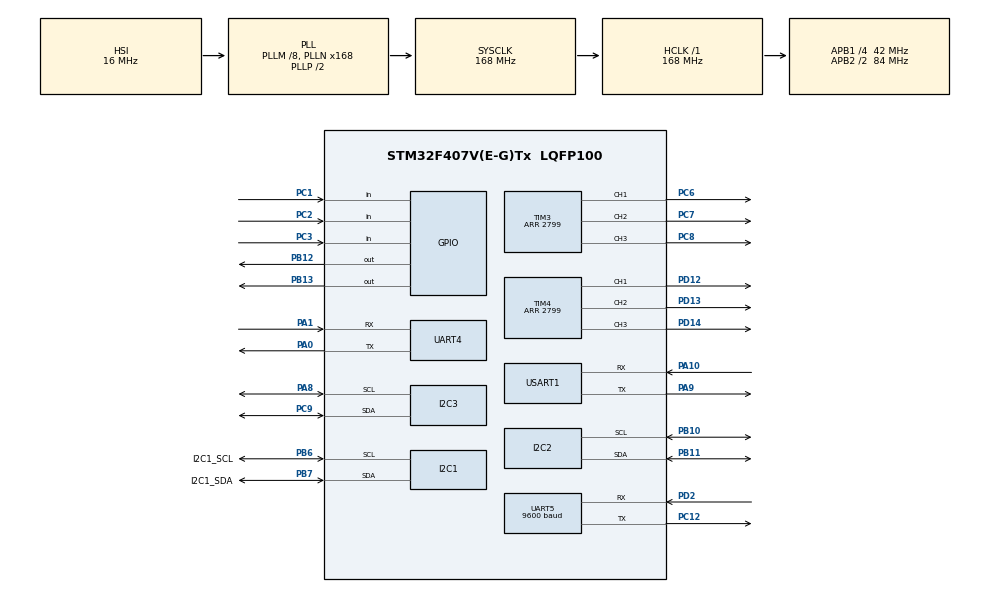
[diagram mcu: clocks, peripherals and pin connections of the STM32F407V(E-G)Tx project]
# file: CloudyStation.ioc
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Dma.Request0=UART5_RX
Dma.Request1=USART1_RX
Dma.UART5_RX.0.Direction=DMA_PERIPH_TO_MEMORY
Dma.UART5_RX.0.FIFOMode=DMA_FIFOMODE_DISABLE
Dma.UART5_RX.0.Instance=DMA1_Stream0
Dma.UART5_RX.0.MemDataAlignment=DMA_MDATAALIGN_BYTE
Dma.UART5_RX.0.MemInc=DMA_MINC_ENABLE
Dma.UART5_RX.0.Mode=DMA_CIRCULAR
Dma.UART5_RX.0.PeriphDataAlignment=DMA_PDATAALIGN_BYTE
Dma.UART5_RX.0.PeriphInc=DMA_PINC_DISABLE
Dma.UART5_RX.0.Priority=DMA_PRIORITY_LOW
Dma.USART1_RX.1.Direction=DMA_PERIPH_TO_MEMORY
Dma.USART1_RX.1.FIFOMode=DMA_FIFOMODE_DISABLE
Dma.USART1_RX.1.Instance=DMA2_Stream2
Dma.USART1_RX.1.MemDataAlignment=DMA_MDATAALIGN_BYTE
Dma.USART1_RX.1.MemInc=DMA_MINC_ENABLE
Dma.USART1_RX.1.Mode=DMA_CIRCULAR
Dma.USART1_RX.1.PeriphDataAlignment=DMA_PDATAALIGN_BYTE
Dma.USART1_RX.1.PeriphInc=DMA_PINC_DISABLE
Dma.USART1_RX.1.Priority=DMA_PRIORITY_LOW
FREERTOS.Tasks01=defaultTask,24,128,StartDefaultTask,Default,NULL,Dynamic,NULL,NULL;mytask1,49,128,InitPrc,Default,NULL,Dynamic,NULL,NULL;myTask02,8,256,MsgPrc,Default,NULL,Dynamic,NULL,NULL;myTask04,41,512,Foc1Prc,Default,NULL,Dynamic,NULL,NULL;myTask05,41,256,Foc2Prc,Default,NULL,Dynamic,NULL,NULL;myTask06,41,128,CtrlPrc,Default,NULL,Dynamic,NULL,NULL
I2C1.I2C_Mode=I2C_Fast
I2C2.I2C_Mode=I2C_Fast
I2C3.I2C_Mode=I2C_Fast
Mcu.Family=STM32F4
Mcu.Name=STM32F407V(E-G)Tx
Mcu.Package=LQFP100
NVIC.DMA1_Stream0_IRQn=true\:5\:0\:false\:false\:true\:true\:false\:true\:true
NVIC.DMA2_Stream2_IRQn=true\:5\:0\:false\:false\:true\:true\:false\:true\:true
NVIC.PriorityGroup=NVIC_PRIORITYGROUP_4
NVIC.TIM8_BRK_TIM12_IRQn=true\:15\:0\:false\:false\:true\:false\:false\:true\:true
NVIC.TimeBase=TIM8_BRK_TIM12_IRQn
NVIC.TimeBaseIP=TIM12
NVIC.UART5_IRQn=true\:5\:0\:false\:false\:true\:true\:true\:true\:true
NVIC.USART1_IRQn=true\:5\:0\:false\:false\:true\:true\:true\:true\:true
PA0-WKUP.Mode=Asynchronous
PA0-WKUP.Signal=UART4_TX
PA1.Mode=Asynchronous
PA1.Signal=UART4_RX
PA10.Mode=Asynchronous
PA10.Signal=USART1_RX
PA13.Mode=Serial_Wire
PA13.Signal=SYS_JTMS-SWDIO
PA14.Mode=Serial_Wire
PA14.Signal=SYS_JTCK-SWCLK
PA8.Mode=I2C
PA8.Signal=I2C3_SCL
PA9.Mode=Asynchronous
PA9.Signal=USART1_TX
PB10.Mode=I2C
PB10.Signal=I2C2_SCL
PB11.Mode=I2C
PB11.Signal=I2C2_SDA
PB12.GPIO_PuPd=GPIO_PULLUP
PB12.PinState=GPIO_PIN_SET
PB12.Signal=GPIO_Output
PB13.GPIO_PuPd=GPIO_PULLUP
PB13.PinState=GPIO_PIN_SET
PB13.Signal=GPIO_Output
PB6.GPIO_Label=I2C1_SCL
PB6.Mode=I2C
PB6.Signal=I2C1_SCL
PB7.GPIO_Label=I2C1_SDA
PB7.Mode=I2C
PB7.Signal=I2C1_SDA
PC1.GPIO_PuPd=GPIO_PULLUP
PC1.Signal=GPIO_Input
PC12.Mode=Asynchronous
PC12.Signal=UART5_TX
PC2.GPIO_PuPd=GPIO_PULLUP
PC2.Signal=GPIO_Input
PC3.GPIO_PuPd=GPIO_PULLUP
PC3.Signal=GPIO_Input
PC6.Signal=S_TIM3_CH1
PC7.Signal=S_TIM3_CH2
PC8.Signal=S_TIM3_CH3
PC9.Mode=I2C
PC9.Signal=I2C3_SDA
PD12.Signal=S_TIM4_CH1
PD13.Signal=S_TIM4_CH2
PD14.Signal=S_TIM4_CH3
PD2.Mode=Asynchronous
PD2.Signal=UART5_RX
PH0-OSC_IN.Mode=HSE-External-Oscillator
PH0-OSC_IN.Signal=RCC_OSC_IN
PH1-OSC_OUT.Mode=HSE-External-Oscillator
PH1-OSC_OUT.Signal=RCC_OSC_OUT
ProjectManager.HeapSize=0x800
ProjectManager.StackSize=0x800
ProjectManager.TargetToolchain=MDK-ARM V5.32
RCC.48MHZClocksFreq_Value=84000000
RCC.AHBFreq_Value=168000000
RCC.APB1CLKDivider=RCC_HCLK_DIV4
RCC.APB1Freq_Value=42000000
RCC.APB1TimFreq_Value=84000000
RCC.APB2CLKDivider=RCC_HCLK_DIV2
RCC.APB2Freq_Value=84000000
RCC.APB2TimFreq_Value=168000000
RCC.CortexFreq_Value=168000000
RCC.HCLKFreq_Value=168000000
RCC.HSE_VALUE=25000000
RCC.HSI_VALUE=16000000
RCC.LSE_VALUE=32768
RCC.PLLM=8
RCC.PLLN=168
RCC.SYSCLKFreq_VALUE=168000000
RCC.SYSCLKSource=RCC_SYSCLKSOURCE_PLLCLK
RCC.VCOOutputFreq_Value=336000000
SH.S_TIM3_CH1.0=TIM3_CH1,PWM Generation1 CH1
SH.S_TIM3_CH2.0=TIM3_CH2,PWM Generation2 CH2
SH.S_TIM3_CH3.0=TIM3_CH3,PWM Generation3 CH3
SH.S_TIM4_CH1.0=TIM4_CH1,PWM Generation1 CH1
SH.S_TIM4_CH2.0=TIM4_CH2,PWM Generation2 CH2
SH.S_TIM4_CH3.0=TIM4_CH3,PWM Generation3 CH3
TIM1.Period=2400-1
TIM3.Channel-PWM\ Generation1\ CH1=TIM_CHANNEL_1
TIM3.Channel-PWM\ Generation2\ CH2=TIM_CHANNEL_2
TIM3.Channel-PWM\ Generation3\ CH3=TIM_CHANNEL_3
TIM3.Period=2799
TIM4.Channel-PWM\ Generation1\ CH1=TIM_CHANNEL_1
TIM4.Channel-PWM\ Generation2\ CH2=TIM_CHANNEL_2
TIM4.Channel-PWM\ Generation3\ CH3=TIM_CHANNEL_3
TIM4.Period=2799
UART4.VirtualMode=Asynchronous
UART5.BaudRate=9600
UART5.VirtualMode=Asynchronous
USART1.VirtualMode=VM_ASYNC
VP_FREERTOS_VS_CMSIS_V2.Mode=CMSIS_V2
VP_SYS_VS_tim12.Mode=TIM12
VP_TIM1_VS_ClockSourceINT.Mode=Internal
VP_TIM3_VS_ClockSourceINT.Mode=Internal
VP_TIM4_VS_ClockSourceINT.Mode=Internal
board=custom

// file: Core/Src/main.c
/* USER CODE BEGIN Header */
/**
  ******************************************************************************
  * @file           : main.c
  * @brief          : Main program body
  ******************************************************************************
  * @attention
  *
  * Copyright (c) 2025 STMicroelectronics.
  * All rights reserved.
  *
  * This software is licensed under terms that can be found in the LICENSE file
  * in the root directory of this software component.
  * If no LICENSE file comes with this software, it is provided AS-IS.
  *
  ******************************************************************************
  */
/* USER CODE END Header */
#include "main.h"
#include "cmsis_os.h"
#include "dma.h"
#include "i2c.h"
#include "tim.h"
#include "usart.h"
#include "gpio.h"

void SystemClock_Config(void);
void MX_FREERTOS_Init(void);

int main(void)
{

  /* MCU Configuration--------------------------------------------------------*/

  /* Reset of all peripherals, Initializes the Flash interface and the Systick. */
  HAL_Init();

  /* Configure the system clock */
  SystemClock_Config();

  /* Initialize all configured peripherals */
  MX_GPIO_Init();
  MX_DMA_Init();
  MX_TIM1_Init();
  MX_I2C1_Init();
  MX_I2C3_Init();
  MX_I2C2_Init();
  MX_TIM3_Init();
  MX_TIM4_Init();
  MX_UART5_Init();
  MX_UART4_Init();
  MX_USART1_UART_Init();

  /* Init scheduler */
  osKernelInitialize();

  /* Call init function for freertos objects (in cmsis_os2.c) */
  MX_FREERTOS_Init();

  /* Start scheduler */
  osKernelStart();

  /* We should never get here as control is now taken by the scheduler */

  /* Infinite loop */
  while (1)
  {

  }
}

void SystemClock_Config(void)
{
  RCC_OscInitTypeDef RCC_OscInitStruct = {0};
  RCC_ClkInitTypeDef RCC_ClkInitStruct = {0};

  /** Configure the main internal regulator output voltage
  */
  __HAL_RCC_PWR_CLK_ENABLE();
  __HAL_PWR_VOLTAGESCALING_CONFIG(PWR_REGULATOR_VOLTAGE_SCALE1);

  /** Initializes the RCC Oscillators according to the specified parameters
  * in the RCC_OscInitTypeDef structure.
  */
  RCC_OscInitStruct.OscillatorType = RCC_OSCILLATORTYPE_HSI;
  RCC_OscInitStruct.HSIState = RCC_HSI_ON;
  RCC_OscInitStruct.HSICalibrationValue = RCC_HSICALIBRATION_DEFAULT;
  RCC_OscInitStruct.PLL.PLLState = RCC_PLL_ON;
  RCC_OscInitStruct.PLL.PLLSource = RCC_PLLSOURCE_HSI;
  RCC_OscInitStruct.PLL.PLLM = 8;
  RCC_OscInitStruct.PLL.PLLN = 168;
  RCC_OscInitStruct.PLL.PLLP = RCC_PLLP_DIV2;
  RCC_OscInitStruct.PLL.PLLQ = 4;
  if (HAL_RCC_OscConfig(&RCC_OscInitStruct) != HAL_OK)
  {
    Error_Handler();
  }

  /** Initializes the CPU, AHB and APB buses clocks
  */
  RCC_ClkInitStruct.ClockType = RCC_CLOCKTYPE_HCLK|RCC_CLOCKTYPE_SYSCLK
                              |RCC_CLOCKTYPE_PCLK1|RCC_CLOCKTYPE_PCLK2;
  RCC_ClkInitStruct.SYSCLKSource = RCC_SYSCLKSOURCE_PLLCLK;
  RCC_ClkInitStruct.AHBCLKDivider = RCC_SYSCLK_DIV1;
  RCC_ClkInitStruct.APB1CLKDivider = RCC_HCLK_DIV4;
  RCC_ClkInitStruct.APB2CLKDivider = RCC_HCLK_DIV2;

  if (HAL_RCC_ClockConfig(&RCC_ClkInitStruct, FLASH_LATENCY_5) != HAL_OK)
  {
    Error_Handler();
  }
}

void HAL_TIM_PeriodElapsedCallback(TIM_HandleTypeDef *htim)
{
  if (htim->Instance == TIM12) {
    HAL_IncTick();
  }
}

void Error_Handler(void)
{
  __disable_irq();
  while (1)
  {
  }
}

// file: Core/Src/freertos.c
/* USER CODE BEGIN Header */
/**
  ******************************************************************************
  * File Name          : freertos.c
  * Description        : Code for freertos applications
  ******************************************************************************
  * @author ?????
  * @date 2025-06-25
  * @attention
  * 2025/6/25 ??????????FOC?????CPU???????1ms??2ms????Msg??????BUG
  *
  *
  *
  *
  *
  *
  ******************************************************************************
  */
/* USER CODE END Header */

#include "FreeRTOS.h"
#include "task.h"
#include "main.h"
#include "cmsis_os.h"

/* USER CODE BEGIN Includes */

#define S1 HAL_GPIO_ReadPin(GPIOC,GPIO_PIN_1)
#define S2 HAL_GPIO_ReadPin(GPIOC,GPIO_PIN_2)
#define S3 HAL_GPIO_ReadPin(GPIOC,GPIO_PIN_3)
/* USER CODE END Includes */

/* USER CODE BEGIN PTD */
typedef struct
{
float angle;
float speed;
float maxangle;
float minangle;
}FocAngle;
FocAngle FOC1,FOC2;
/* USER CODE END PTD */

/* USER CODE BEGIN PD */

extern pid angle1,angle2,speed1;
extern MyUartGroup uartGroup;
extern coordinate aim;
extern cloudpid Cloud1,Cloud2;
extern unsigned int FOCOK;
extern int scan;
extern int target_lost_flag;
/* USER CODE END PD */

/* Definitions for defaultTask */
osThreadId_t defaultTaskHandle;
const osThreadAttr_t defaultTask_attributes = {
  .name = "defaultTask",
  .stack_size = 128 * 4,
  .priority = (osPriority_t) osPriorityNormal,
};
/* Definitions for mytask1 */
osThreadId_t mytask1Handle;
const osThreadAttr_t mytask1_attributes = {
  .name = "mytask1",
  .stack_size = 128 * 4,
  .priority = (osPriority_t) osPriorityRealtime1,
};
/* Definitions for myTask02 */
osThreadId_t myTask02Handle;
const osThreadAttr_t myTask02_attributes = {
  .name = "myTask02",
  .stack_size = 256 * 4,
  .priority = (osPriority_t) osPriorityLow,
};
/* Definitions for myTask04 */
osThreadId_t myTask04Handle;
const osThreadAttr_t myTask04_attributes = {
  .name = "myTask04",
  .stack_size = 512 * 4,
  .priority = (osPriority_t) osPriorityHigh1,
};
/* Definitions for myTask05 */
osThreadId_t myTask05Handle;
const osThreadAttr_t myTask05_attributes = {
  .name = "myTask05",
  .stack_size = 256 * 4,
  .priority = (osPriority_t) osPriorityHigh1,
};
/* Definitions for myTask06 */
osThreadId_t myTask06Handle;
const osThreadAttr_t myTask06_attributes = {
  .name = "myTask06",
  .stack_size = 128 * 4,
  .priority = (osPriority_t) osPriorityHigh1,
};

void StartDefaultTask(void *argument);
void InitPrc(void *argument);
void MsgPrc(void *argument);
void Foc1Prc(void *argument);
void Foc2Prc(void *argument);
void CtrlPrc(void *argument);

void MX_FREERTOS_Init(void); /* (MISRA C 2004 rule 8.1) */

void MX_FREERTOS_Init(void) {

  /* Create the thread(s) */
  /* creation of defaultTask */
  defaultTaskHandle = osThreadNew(StartDefaultTask, NULL, &defaultTask_attributes);

  /* creation of mytask1 */
  mytask1Handle = osThreadNew(InitPrc, NULL, &mytask1_attributes);

  /* creation of myTask02 */
  myTask02Handle = osThreadNew(MsgPrc, NULL, &myTask02_attributes);

  /* creation of myTask04 */
  myTask04Handle = osThreadNew(Foc1Prc, NULL, &myTask04_attributes);

  /* creation of myTask05 */
  myTask05Handle = osThreadNew(Foc2Prc, NULL, &myTask05_attributes);

  /* creation of myTask06 */
  myTask06Handle = osThreadNew(CtrlPrc, NULL, &myTask06_attributes);

}

void StartDefaultTask(void *argument)
{
  for(;;)
  {
    osDelay(1);
  }
}

/* USER CODE BEGIN Header_InitPrc */
/**
* @brief ?????????????
* @param argument: Not used
* @retval None
*/
/* USER CODE END Header_InitPrc */
void InitPrc(void *argument)
{
  /* USER CODE BEGIN InitPrc */
HAL_TIM_Base_Start(&htim3);
HAL_TIM_Base_Start(&htim4);
HAL_TIM_PWM_Start(&htim3,TIM_CHANNEL_1);
HAL_TIM_PWM_Start(&htim3,TIM_CHANNEL_2);
HAL_TIM_PWM_Start(&htim3,TIM_CHANNEL_3);
HAL_TIM_PWM_Start(&htim4,TIM_CHANNEL_1);
HAL_TIM_PWM_Start(&htim4,TIM_CHANNEL_2);
HAL_TIM_PWM_Start(&htim4,TIM_CHANNEL_3);
MyUartGroup_Init(&uartGroup);
HAL_NVIC_EnableIRQ(UART5_IRQn);
// HAL_NVIC_EnableIRQ(USART1_IRQn);
HAL_UART_Receive_DMA(&huart5, uartGroup.camera.Receive_data, uartGroup.camera.len);
// HAL_UART_Receive_DMA(&huart1, uartGroup.L1.Receive_data, uartGroup.L1.len);
__HAL_UART_ENABLE_IT(&huart5, UART_IT_IDLE);
__HAL_UART_ENABLE_IT(&huart1, UART_IT_IDLE);
FOCinit();
OLED_Init();
cloudpidinit();
vTaskDelete(NULL);
  /* Infinite loop */
  /* USER CODE END InitPrc */
}

/* USER CODE BEGIN Header_MsgPrc */
/**
* @brief ??????????????   ??????
* @param argument: Not used
* @retval None
*/
/* USER CODE END Header_MsgPrc */
void MsgPrc(void *argument)
{
  /* USER CODE BEGIN MsgPrc */

  /* Infinite loop */
  for(;;)
  {
//OLED**************************************
	OLED_ShowString(x1,y1,"Ang:",OLED_6X8);
	OLED_ShowFloatNum(x2,y1,angle1.Actual*57.3f,3,2,OLED_6X8);
	OLED_ShowFloatNum(x4,y1,angle2.Actual*57.3f,3,2,OLED_6X8);
	OLED_ShowString(x1,y2,"Tar:",OLED_6X8);
	OLED_ShowFloatNum(x2,y2,FOC1.angle*57.3f,3,2,OLED_6X8);
  OLED_ShowFloatNum(x4,y2,FOC2.angle*57.3f,3,2,OLED_6X8);
  OLED_ShowString(x1,y3,"Vel:",OLED_6X8);
  OLED_ShowFloatNum(x2,y3,speed1.Actual,3,2,OLED_6X8);
	OLED_ShowFloatNum(x4,y3,0,3,2,OLED_6X8);
  OLED_ShowString(x1,y4,"Tar:",OLED_6X8);
	OLED_ShowFloatNum(x2,y4,FOC1.speed,3,2,OLED_6X8);
	OLED_ShowFloatNum(x4,y4,FOC2.speed,3,2,OLED_6X8);
  OLED_ShowString(x1,y5,"AIM:",OLED_6X8);
  OLED_ShowNum(x2,y5,aim.x,3,OLED_6X8);
	OLED_ShowNum(x3,y5,aim.y,3,OLED_6X8);
  OLED_ShowNum(x5,y5,scan,4,OLED_6X8);
  // OLED_ShowFloatNum(x3,y5,_electricalAngle_2(),3,2,OLED_6X8);
	OLED_Update();
//Key*******************************************
  if(S3)
    {
  // if(!S1)FOC1.angle+=0.01744f;
	// if(!S2)FOC1.angle-=0.01744f;
  // if(!S1)FOC1.speed+=0.1f;
	// if(!S2)FOC1.speed-=0.1f;
	if(!S1)FOC2.angle+=0.001744f;
	if(!S2)FOC2.angle-=0.001744f;
    }
  else
    {
	// if(!S1)FOC1.angle+=0.1744f;
	// if(!S2)FOC1.angle-=0.1744f;
  // if(!S1)FOC1.speed+=0.5f;
	// if(!S2)FOC1.speed-=0.5f;
  if(!S1)FOC2.angle+=0.01744f;
	if(!S2)FOC2.angle-=0.01744f;
    }
  osDelay(50);
  }

  /* USER CODE END MsgPrc */
}

/* USER CODE BEGIN Header_Foc1Prc */
/**
* @brief FOC???   ??????
* @param argument: Not used
* @retval None
*/
/* USER CODE END Header_Foc1Prc */
void Foc1Prc(void *argument)
{
  /* USER CODE BEGIN Foc1Prc */
  FOC1.angle = 175.0f/57.3f;
  FOC1.speed = 1.0f;
  FOC1.maxangle =  270.0f * PI / 180.0f;
  FOC1.minangle = 80.0f * PI / 180.0f;
  static int foundsta = 0;
  /* Infinite loop */
  for(;;)
  {
    if(FOCOK)
    {
      float target_angle = FOC1.angle + Cloud1.out;
      target_angle = target_angle < FOC1.minangle ? FOC1.minangle : (target_angle > FOC1.maxangle ? FOC1.maxangle : target_angle);
      Set_Angle_1(target_angle);
      // Set_Speed_1(FOC1.speed);

      if(target_lost_flag==1)
      {
        if(foundsta==0)FOC1.angle+=(0.001744f*2);
        else if(foundsta==1)FOC1.angle-=(0.001744f*2);

        if (target_angle >= FOC1.maxangle-30*PI/180.0f)
        foundsta=1;
        else if (target_angle <= FOC1.minangle+30*PI/180.0f)
        foundsta=0;
      }
    }
    osDelay(3);
  }
  /* USER CODE END Foc1Prc */
}

void Foc2Prc(void *argument)
{
  /* USER CODE BEGIN Foc2Prc */
  FOC2.angle =80.0f / 57.3f;
  FOC2.minangle = 60.0f * PI / 180.0f;
  FOC2.maxangle =  100.0f * PI / 180.0f;

  /* Infinite loop */
  for(;;)
  {
    if(FOCOK)
    {
      float target_angle = FOC2.angle + Cloud2.out;
      target_angle = target_angle < FOC2.minangle ? FOC2.minangle : (target_angle > FOC2.maxangle ? FOC2.maxangle : target_angle);
      Set_Angle_2(target_angle);
      // setTorque_2(3,_electricalAngle_2());
    }
    osDelay(3);
  }
  /* USER CODE END Foc2Prc */
}

void CtrlPrc(void *argument)
{
  /* USER CODE BEGIN CtrlPrc */
    uint8_t L1Start[5] = {0xA5, 0x5A, 0x04, 0x00, 0xFB};
    HAL_UART_Transmit(&huart1, L1Start, 5, 10);
  /* Infinite loop */
  for(;;)
  {
    //Uart************************************
    MsgSendPrc();
    CameraPrc();
    // L1Prc();
    cloud1();
    cloud2();
    osDelay(5);
  }
  /* USER CODE END CtrlPrc */
}
